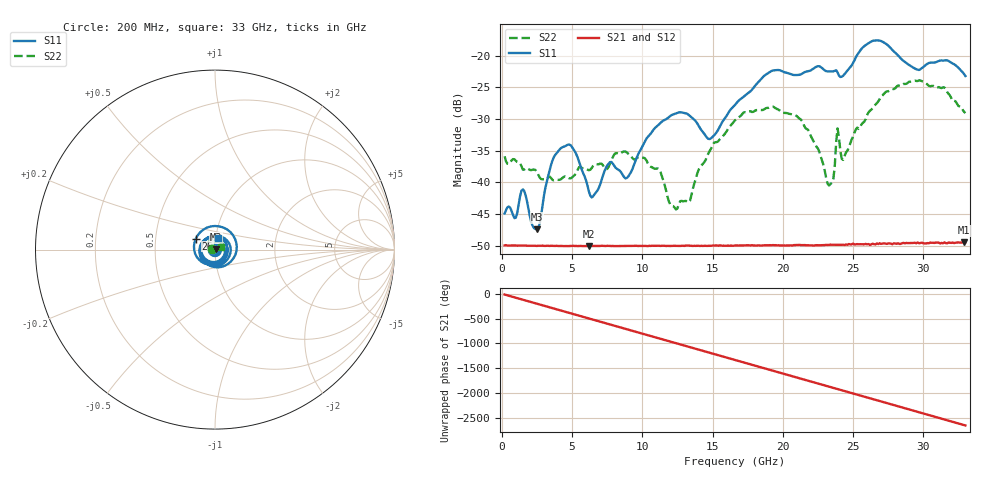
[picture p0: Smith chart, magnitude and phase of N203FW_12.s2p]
# GHZ S RI R 50
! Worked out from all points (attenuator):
!   329 points, 200 MHz to 33 GHz, reference 50 ohm
!   highest |S21| = -49.45 dB at 32.9 GHz (marker M1); lowest = -50.1 dB at 6.2 GHz (marker M2)
!   lowest |S11| = -47.4 dB at 2.5 GHz (marker M3), VSWR 1.01, Z = 50.3 + j0.265 ohm
!   |S11| at or under -10 dB: start of sweep to end of sweep
!   |S22| runs from -44.3 to -23.9 dB; largest |S21 - S12| = 8.8e-05
!   S11 on the Smith chart (normalised r, x): 200 MHz: 1.01, +0.00; 26 GHz: 0.80, +0.10; 33 GHz: 1.02, +0.14
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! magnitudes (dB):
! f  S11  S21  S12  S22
! 200 MHz  -44.9  -50.0  -49.9  -35.9
! 1.5 GHz  -41.1  -50.0  -50.0  -38.0
! 2.5 GHz  -47.4  -50.1  -50.0  -38.4
! 3.8 GHz  -35.7  -50.1  -50.0  -39.7
! 5.7 GHz  -38.1  -50.1  -50.0  -37.7
! 6.2 GHz  -41.4  -50.1  -50.1  -38.1
! 8.9 GHz  -39.3  -50.0  -50.0  -35.3
! 11.2 GHz  -30.8  -50.0  -50.0  -37.9
! 12 GHz  -29.5  -50.1  -50.1  -43.5
! 13.3 GHz  -29.4  -50.0  -50.0  -43.2
! 14.8 GHz  -33.2  -50.0  -50.0  -35.0
! 16.6 GHz  -27.8  -50.0  -50.0  -30.2
! 19.3 GHz  -22.4  -49.9  -49.9  -28.1
! 22.1 GHz  -22.2  -50.0  -49.9  -33.1
! 23.3 GHz  -22.5  -49.9  -49.9  -40.5
! 23.6 GHz  -22.5  -49.9  -49.9  -39.5
! 23.9 GHz  -22.7  -49.9  -49.9  -31.5
! 24.3 GHz  -23.2  -49.8  -49.8  -36.5
! 26 GHz  -18.2  -49.8  -49.8  -29.4
! 27.6 GHz  -18.6  -49.7  -49.7  -25.5
! 32.9 GHz  -22.9  -49.4  -49.4  -28.9
! 33 GHz  -23.2  -49.5  -49.5  -29.1
